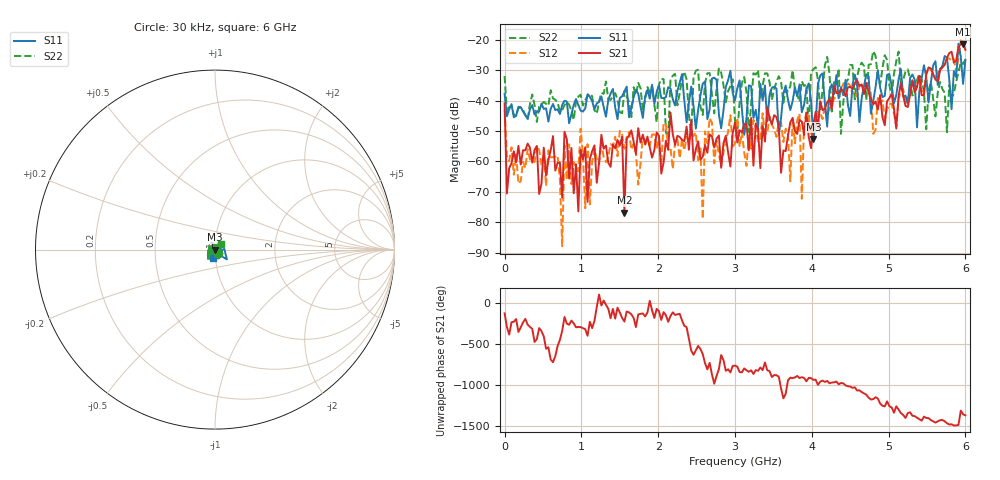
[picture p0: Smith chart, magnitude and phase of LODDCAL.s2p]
!Keysight Technologies N9916A: A.08.06
!Date: Thursday, 30 May 2024 20:19:17
!Timezone: (GMT+10:00) Brisbane
!Model: N9916A
!Serial: MY53102361
!GPS Latitude:
!GPS Longitude:
!GPS TimeStamp: 0001-01-01 00:00:00Z
!GPS Seconds Since Last Read: 0
!CHECKSUM:1001456627
!Correction: S11(ON U)S21(ON U)S12(ON U)S22(ON U)
!S2P File: Measurements:S11,S21,S12,S22:
# Hz S RI R 50
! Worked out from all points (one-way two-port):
!   201 points, 30 kHz to 6 GHz, reference 50 ohm
!   highest |S21| = -21.45 dB at 5.97 GHz (marker M1); lowest = -76.9 dB at 1.56 GHz (marker M2)
!   lowest |S11| = -52.6 dB at 4.02 GHz (marker M3), VSWR 1.00, Z = 49.8 - j0.0277 ohm
!   |S11| at or under -10 dB: start of sweep to end of sweep
!   |S22| runs from -52.5 to -23.8 dB; largest |S21 - S12| = 0.031
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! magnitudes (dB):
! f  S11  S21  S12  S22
! 30 kHz  -37.9  -40.9  -42.8  -32.0
! 30.03 MHz  -45.2  -70.6  -58.2  -44.3
! 750 MHz  -41.4  -71.9  -87.8  -43.1
! 780 MHz  -40.1  -50.3  -54.8  -41.5
! 1.02 GHz  -43.6  -59.3  -58.1  -41.6
! 1.53 GHz  -38.6  -51.9  -51.2  -44.2
! 1.56 GHz  -37.0  -76.9  -55.8  -36.9
! 1.59 GHz  -35.4  -52.6  -51.9  -38.8
! 2.01 GHz  -35.0  -51.6  -52.3  -34.7
! 2.43 GHz  -35.4  -46.5  -50.1  -51.4
! 2.49 GHz  -49.2  -55.9  -50.5  -30.2
! 2.58 GHz  -34.5  -58.4  -78.9  -44.8
! 2.67 GHz  -42.8  -51.1  -45.8  -31.0
! 3 GHz  -40.0  -47.2  -54.2  -46.6
! 3.72 GHz  -43.1  -47.2  -66.5  -35.3
! 3.84 GHz  -34.7  -46.4  -44.3  -40.4
! 3.87 GHz  -43.8  -46.9  -72.3  -33.7
! 4.02 GHz  -52.6  -47.9  -46.8  -29.8
! 5.01 GHz  -31.3  -39.2  -41.1  -35.0
! 5.76 GHz  -25.9  -26.1  -26.1  -50.4
! 5.97 GHz  -34.5  -21.4  -21.2  -28.0
! 6 GHz  -26.6  -23.3  -23.3  -26.6
